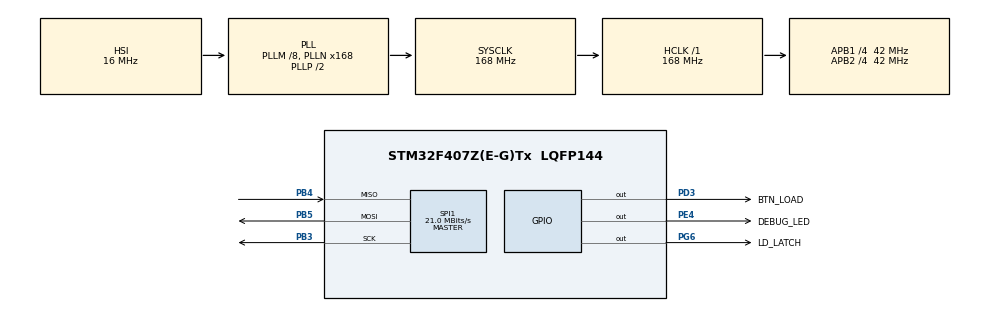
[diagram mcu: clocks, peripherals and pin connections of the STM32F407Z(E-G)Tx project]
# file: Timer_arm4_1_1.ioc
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Mcu.Family=STM32F4
Mcu.Name=STM32F407Z(E-G)Tx
Mcu.Package=LQFP144
NVIC.PriorityGroup=NVIC_PRIORITYGROUP_4
NVIC.TIM2_IRQn=true\:0\:0\:false\:false\:true\:true\:true\:true
PA13.Mode=Serial_Wire
PA13.Signal=SYS_JTMS-SWDIO
PA14.Mode=Serial_Wire
PA14.Signal=SYS_JTCK-SWCLK
PB3.Mode=Full_Duplex_Master
PB3.Signal=SPI1_SCK
PB4.Mode=Full_Duplex_Master
PB4.Signal=SPI1_MISO
PB5.Mode=Full_Duplex_Master
PB5.Signal=SPI1_MOSI
PD3.GPIO_Label=BTN_LOAD
PD3.Signal=GPIO_Output
PE4.GPIO_Label=DEBUG_LED
PE4.Signal=GPIO_Output
PG6.GPIO_Label=LD_LATCH
PG6.Signal=GPIO_Output
PH0-OSC_IN.Mode=HSE-External-Oscillator
PH0-OSC_IN.Signal=RCC_OSC_IN
PH1-OSC_OUT.Mode=HSE-External-Oscillator
PH1-OSC_OUT.Signal=RCC_OSC_OUT
ProjectManager.HeapSize=0x200
ProjectManager.StackSize=0x400
ProjectManager.TargetToolchain=STM32CubeIDE
RCC.48MHZClocksFreq_Value=84000000
RCC.AHBFreq_Value=168000000
RCC.APB1CLKDivider=RCC_HCLK_DIV4
RCC.APB1Freq_Value=42000000
RCC.APB1TimFreq_Value=84000000
RCC.APB2CLKDivider=RCC_HCLK_DIV4
RCC.APB2Freq_Value=42000000
RCC.APB2TimFreq_Value=84000000
RCC.CortexFreq_Value=168000000
RCC.HCLKFreq_Value=168000000
RCC.HSE_VALUE=8000000
RCC.HSI_VALUE=16000000
RCC.LSE_VALUE=32768
RCC.PLLM=8
RCC.PLLN=168
RCC.SYSCLKFreq_VALUE=168000000
RCC.SYSCLKSource=RCC_SYSCLKSOURCE_PLLCLK
RCC.VCOOutputFreq_Value=336000000
SPI1.CalculateBaudRate=21.0 MBits/s
SPI1.Direction=SPI_DIRECTION_2LINES
SPI1.Mode=SPI_MODE_MASTER
SPI1.VirtualType=VM_MASTER
TIM2.Period=100-1
TIM2.Prescaler=840-1
VP_TIM2_VS_ClockSourceINT.Mode=Internal
board=custom

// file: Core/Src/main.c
/* USER CODE BEGIN Header */
/**
  ******************************************************************************
  * @file           : main.c
  * @brief          : Main program body
  ******************************************************************************
  * @attention
  *
  * Copyright (c) 2025 STMicroelectronics.
  * All rights reserved.
  *
  * This software is licensed under terms that can be found in the LICENSE file
  * in the root directory of this software component.
  * If no LICENSE file comes with this software, it is provided AS-IS.
  *
  ******************************************************************************
  */
/* USER CODE END Header */
#include "main.h"
#include "spi.h"
#include "tim.h"
#include "gpio.h"

/* USER CODE BEGIN Includes */
#include "software_timer.h"
#include "led_7seg.h"
/* USER CODE END Includes */

void SystemClock_Config(void);
/* USER CODE BEGIN PFP */
void init_system(void);
void display_7segled(void);
/* USER CODE END PFP */

int main(void)
{

  /* MCU Configuration--------------------------------------------------------*/

  /* Reset of all peripherals, Initializes the Flash interface and the Systick. */
  HAL_Init();

  /* Configure the system clock */
  SystemClock_Config();

  /* Initialize all configured peripherals */
  MX_GPIO_Init();
  MX_SPI1_Init();
  MX_TIM2_Init();
  /* USER CODE BEGIN 2 */
  init_system();
  /* USER CODE END 2 */

  /* Infinite loop */
  /* USER CODE BEGIN WHILE */
  while (1)
  {
	  display_7segled();
	  if (timer2_flag == 1) {
		  led_7seg_display();
		  timer2_set(1000);
	  }
    /* USER CODE END WHILE */

  }
}

void SystemClock_Config(void)
{
  RCC_OscInitTypeDef RCC_OscInitStruct = {0};
  RCC_ClkInitTypeDef RCC_ClkInitStruct = {0};

  /** Configure the main internal regulator output voltage
  */
  __HAL_RCC_PWR_CLK_ENABLE();
  __HAL_PWR_VOLTAGESCALING_CONFIG(PWR_REGULATOR_VOLTAGE_SCALE1);

  /** Initializes the RCC Oscillators according to the specified parameters
  * in the RCC_OscInitTypeDef structure.
  */
  RCC_OscInitStruct.OscillatorType = RCC_OSCILLATORTYPE_HSI;
  RCC_OscInitStruct.HSIState = RCC_HSI_ON;
  RCC_OscInitStruct.HSICalibrationValue = RCC_HSICALIBRATION_DEFAULT;
  RCC_OscInitStruct.PLL.PLLState = RCC_PLL_ON;
  RCC_OscInitStruct.PLL.PLLSource = RCC_PLLSOURCE_HSI;
  RCC_OscInitStruct.PLL.PLLM = 8;
  RCC_OscInitStruct.PLL.PLLN = 168;
  RCC_OscInitStruct.PLL.PLLP = RCC_PLLP_DIV2;
  RCC_OscInitStruct.PLL.PLLQ = 4;
  if (HAL_RCC_OscConfig(&RCC_OscInitStruct) != HAL_OK)
  {
    Error_Handler();
  }

  /** Initializes the CPU, AHB and APB buses clocks
  */
  RCC_ClkInitStruct.ClockType = RCC_CLOCKTYPE_HCLK|RCC_CLOCKTYPE_SYSCLK
                              |RCC_CLOCKTYPE_PCLK1|RCC_CLOCKTYPE_PCLK2;
  RCC_ClkInitStruct.SYSCLKSource = RCC_SYSCLKSOURCE_PLLCLK;
  RCC_ClkInitStruct.AHBCLKDivider = RCC_SYSCLK_DIV1;
  RCC_ClkInitStruct.APB1CLKDivider = RCC_HCLK_DIV4;
  RCC_ClkInitStruct.APB2CLKDivider = RCC_HCLK_DIV4;

  if (HAL_RCC_ClockConfig(&RCC_ClkInitStruct, FLASH_LATENCY_5) != HAL_OK)
  {
    Error_Handler();
  }
}

/* USER CODE BEGIN 4 */
void init_system(void) {
	led_7seg_init();
	timer2_init();
	timer2_set(1000);

//	timer3_init();
//	timer3_set(2000);
//
//	timer4_init();
//	timer4_set(4000);
}

void display_7segled(void) {
	led_7seg_set_digit(1, 0, 0);
	led_7seg_set_digit(5, 1, 0);
	led_7seg_set_digit(4, 2, 0);
	led_7seg_set_digit(7, 3, 0);
}

/* USER CODE END 4 */

void Error_Handler(void)
{
  __disable_irq();
  while (1)
  {
  }
}
